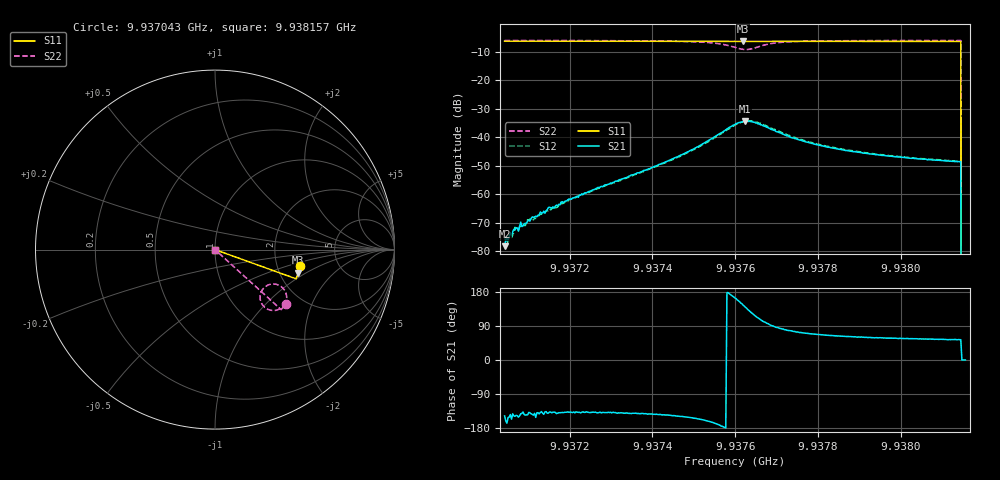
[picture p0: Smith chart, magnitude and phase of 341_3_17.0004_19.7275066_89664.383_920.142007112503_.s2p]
#  HZ  S  RI  R  50.00
! Rohde & Schwarz Vector Network Analyzer
! Rohde-Schwarz,ZNB20-2Port,1311601062101988,3.16
! Created: UTC 3/20/2024, 11:07:20 PM
! freq[Hz]  re:S11  im:S11  re:S21  im:S21  re:S12  im:S12  re:S22  im:S22
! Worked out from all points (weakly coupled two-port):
!   401 points, 9.937043 GHz to 9.938157 GHz, reference 50 ohm
!   highest |S21| = -34.36 dB at 9.937625 GHz (marker M1); lowest = -78.2 dB at 9.937043 GHz (marker M2)
!   lowest |S11| = -6.4 dB at 9.937619 GHz (marker M3), VSWR 2.84, Z = 126 - j42 ohm
!   |S11| at or under -10 dB: 9.938145 GHz to end of sweep
!   |S22| runs from - to -6.0 dB; largest |S21 - S12| = 0.0015
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9.9370426e9  0.476 -0.0909  -0.000104 -6.55e-05  -0.000153 -7.3e-05  0.3976 -0.3017
9.937051e9  0.4756 -0.0915  -0.00014 -7.49e-05  -0.000135 -2.6e-05  0.3971 -0.3023
9.9370565e9  0.4756 -0.0919  -0.000173 -0.000125  -0.000164 -6.68e-05  0.397 -0.3027
9.9370677e9  0.4754 -0.0926  -0.000202 -0.000123  -0.000219 -0.000147  0.3961 -0.3034
9.9371011e9  0.4748 -0.0948  -0.000259 -0.000232  -0.000289 -0.000196  0.3938 -0.3059
9.9371122e9  0.4747 -0.0957  -0.000324 -0.000222  -0.00029 -0.000204  0.3931 -0.3064
9.937154e9  0.4739 -0.0986  -0.000427 -0.00039  -0.000423 -0.000322  0.39 -0.3096
9.9372292e9  0.4725 -0.1036  -0.000753 -0.000678  -0.000764 -0.000635  0.3839 -0.3153
9.9374158e9  0.4686 -0.1162  -0.00269 -0.00196  -0.00264 -0.00185  0.3587 -0.3319
9.9375049e9  0.4664 -0.1222  -0.0059 -0.00289  -0.00569 -0.00272  0.3291 -0.3392
9.9375634e9  0.4644 -0.1261  -0.0116 -0.00159  -0.011 -0.00182  0.2854 -0.3278
9.9375996e9  0.4629 -0.1277  -0.0161 0.00477  -0.0159 0.00368  0.2527 -0.2808
9.9376191e9  0.4623 -0.1284  -0.0155 0.0109  -0.0161 0.00957  0.2577 -0.2347
9.9376246e9  0.4625 -0.1285  -0.0146 0.0124  -0.0154 0.0114  0.2653 -0.2215
9.9376469e9  0.4625 -0.1294  -0.00857 0.0162  -0.00983 0.0161  0.3145 -0.1923
9.9376887e9  0.4625 -0.1322  -0.00012 0.0137  -0.000586 0.0143  0.3833 -0.2199
9.9377862e9  0.4609 -0.1391  0.00282 0.00725  0.00294 0.00745  0.3975 -0.2836
9.9378725e9  0.4587 -0.145  0.00272 0.00512  0.00285 0.00523  0.3894 -0.3051
9.9379728e9  0.4564 -0.1516  0.0025 0.00397  0.00258 0.00399  0.3808 -0.3193
9.9381398e9  0.4519 -0.1624  0.00221 0.00303  0.00229 0.00306  0.3688 -0.3342
9.9381538e9  0 0  0 0  0 0  0 0
9.9381566e9  0 0  0 0  0 0  0 0
